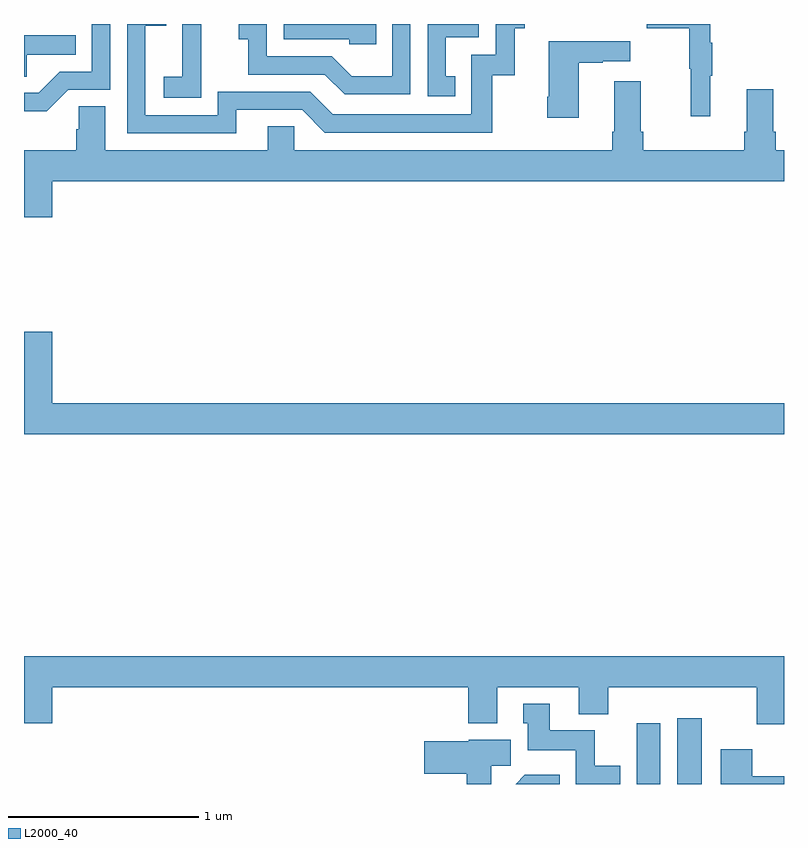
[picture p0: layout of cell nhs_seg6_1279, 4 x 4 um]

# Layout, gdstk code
import gdstk
lib = gdstk.Library(unit=1e-6, precision=1e-09)
def R(c, l, rs):  # rectangles x0, y0, x1, y1
    for r in rs: c.add(gdstk.rectangle(r[:2], r[2:], *l))
def P(c, l, *ps):  # polygons
    for p in ps: c.add(gdstk.Polygon(p, *l))
L2000_40 = (2000, 40)

nhs_seg6_1279 = lib.new_cell('nhs_seg6_1279')
R(nhs_seg6_1279, L2000_40, [(192.224,941.5,192.349,941.821), (192.437,941.5,192.568,941.845)])
P(nhs_seg6_1279, L2000_40, [(191.034,945.5),(190.938,945.5),(190.938,945.226),(190.724,945.226),(190.62,945.33),(190.278,945.33),(190.278,945.5),(190.131,945.5),(190.131,945.419),(190.18,945.419),(190.18,945.234),(190.583,945.234),(190.688,945.129),(191.034,945.129)],
  [(190.117,945.048),(190.464,945.048),(190.584,944.928),(191.464,944.928),(191.464,945.231),(191.582,945.231),(191.582,945.477),(191.635,945.477),(191.635,945.5),(191.484,945.5),(191.484,945.339),(191.355,945.339),(191.355,945.024),(190.626,945.024),(190.506,945.144),(190.02,945.144),(190.02,945.021),(189.639,945.021),(189.639,945.49),(189.749,945.49),(189.749,945.5),(189.543,945.5),(189.543,944.925),(190.117,944.925)],
  [(189.234,945.153),(189.453,945.153),(189.453,945.5),(189.357,945.5),(189.357,945.249),(189.188,945.249),(189.077,945.138),(189,945.138),(189,945.041),(189.121,945.041)],
  [(190.853,945.5),(190.368,945.5),(190.368,945.42),(190.713,945.42),(190.713,945.393),(190.853,945.393)],
  [(189.933,945.319),(189.932,945.319),(189.932,945.5),(189.834,945.5),(189.834,945.452),(189.833,945.452),(189.833,945.223),(189.735,945.223),(189.735,945.113),(189.933,945.113)],
  [(192.611,945.227),(192.622,945.227),(192.622,945.401),(192.611,945.401),(192.611,945.5),(191.745,945.5),(191.745,945.498),(192.277,945.498),(192.277,945.478),(192.501,945.478),(192.501,945.264),(192.508,945.264),(192.508,945.015),(192.611,945.015)],
  [(191.27,945.225),(191.221,945.225),(191.221,945.429),(191.394,945.429),(191.394,945.5),(191.124,945.5),(191.124,945.12),(191.27,945.12)],
  [(189.015,945.338),(189.272,945.338),(189.272,945.442),(189,945.442),(189,945.223),(189.015,945.223)],
  [(191.92,945.295),(192.047,945.295),(192.047,945.305),(192.19,945.305),(192.19,945.409),(191.762,945.409),(191.762,945.118),(191.755,945.118),(191.755,945.006),(191.92,945.006)],
  [(189.148,944.672),(193,944.672),(193,944.836),(192.956,944.836),(192.956,944.932),(192.943,944.932),(192.943,945.157),(192.803,945.157),(192.803,944.932),(192.791,944.932),(192.791,944.836),(192.26,944.836),(192.26,944.932),(192.247,944.932),(192.247,945.199),(192.107,945.199),(192.107,944.932),(192.095,944.932),(192.095,944.836),(190.422,944.836),(190.422,944.963),(190.283,944.963),(190.283,944.836),(189.427,944.836),(189.427,945.068),(189.288,945.068),(189.288,944.945),(189.275,944.945),(189.275,944.836),(189,944.836),(189,944.484),(189.148,944.484)],
  [(193,943.504),(189.148,943.504),(189.148,943.879),(189,943.879),(189,943.34),(193,943.34)],
  [(193,942.172),(189,942.172),(189,941.82),(189.148,941.82),(189.148,942.008),(191.339,942.008),(191.339,941.819),(191.491,941.819),(191.491,942.008),(191.921,942.008),(191.921,941.867),(192.074,941.867),(192.074,942.008),(192.857,942.008),(192.857,941.814),(193,941.814)],
  [(192.139,941.596),(192.003,941.596),(192.003,941.782),(191.767,941.782),(191.767,941.923),(191.627,941.923),(191.627,941.82),(191.651,941.82),(191.651,941.678),(191.904,941.678),(191.904,941.5),(192.139,941.5)],
  [(191.458,941.596),(191.563,941.596),(191.563,941.734),(191.34,941.734),(191.34,941.725),(191.106,941.725),(191.106,941.555),(191.329,941.555),(191.329,941.5),(191.458,941.5)],
  [(193,941.542),(192.832,941.542),(192.832,941.683),(192.668,941.683),(192.668,941.5),(193,941.5)],
  [(191.819,941.548),(191.636,941.548),(191.588,941.5),(191.819,941.5)])

lib.write_gds('nhs_seg6_1279.gds')
